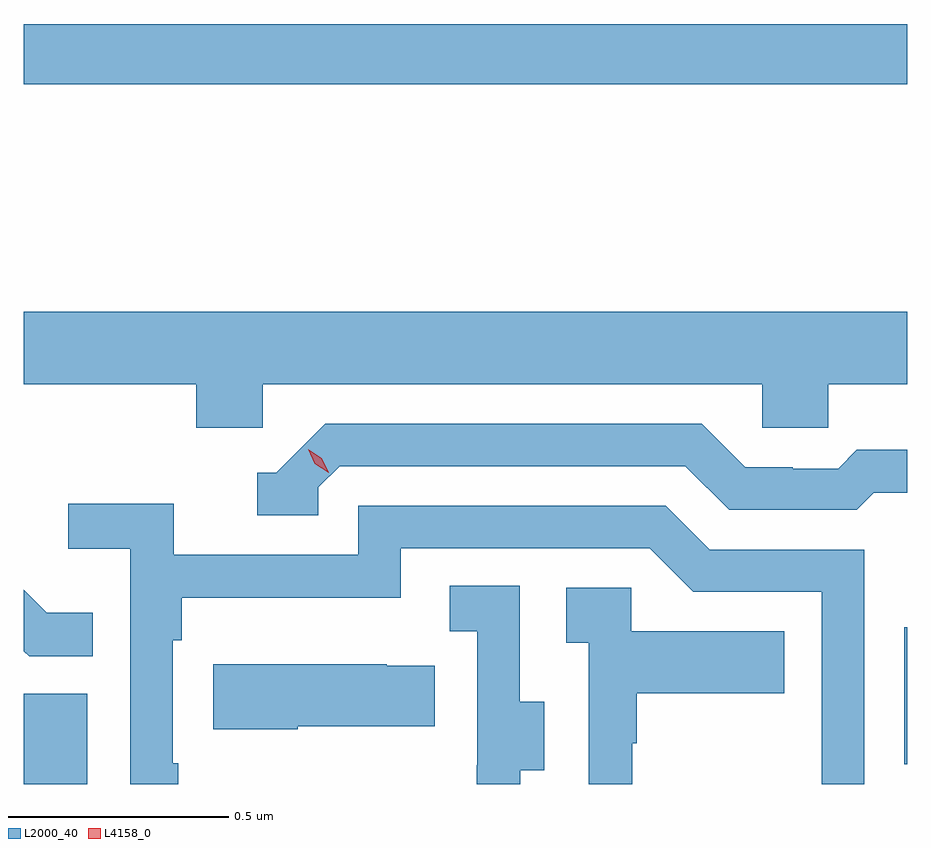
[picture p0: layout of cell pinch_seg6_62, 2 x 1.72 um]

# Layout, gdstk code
import gdstk
lib = gdstk.Library(unit=1e-6, precision=1e-09)
def R(c, l, rs):  # rectangles x0, y0, x1, y1
    for r in rs: c.add(gdstk.rectangle(r[:2], r[2:], *l))
def P(c, l, *ps):  # polygons
    for p in ps: c.add(gdstk.Polygon(p, *l))
L2000_40 = (2000, 40)
L4158_0 = (4158, 0)

pinch_seg6_62 = lib.new_cell('pinch_seg6_62')
R(pinch_seg6_62, L2000_40, [(1009.181,939.771,1009.324,939.975), (1011.174,939.816,1011.181,940.126), (1009.181,941.356,1011.181,941.492)])
P(pinch_seg6_62, L2000_40, [(1009.722,940.676),(1010.853,940.676),(1010.853,940.578),(1011.003,940.578),(1011.003,940.676),(1011.181,940.676),(1011.181,940.84),(1009.181,940.84),(1009.181,940.676),(1009.571,940.676),(1009.571,940.578),(1009.722,940.578)],
  [(1009.848,940.443),(1009.896,940.491),(1010.679,940.491),(1010.778,940.392),(1011.067,940.392),(1011.106,940.431),(1011.181,940.431),(1011.181,940.528),(1011.067,940.528),(1011.025,940.485),(1010.922,940.485),(1010.922,940.488),(1010.815,940.488),(1010.716,940.587),(1009.863,940.587),(1009.752,940.476),(1009.709,940.476),(1009.709,940.38),(1009.848,940.38)],
  [(1009.531,939.818),(1009.518,939.818),(1009.518,940.097),(1009.538,940.097),(1009.538,940.193),(1010.034,940.193),(1010.034,940.305),(1010.598,940.305),(1010.697,940.206),(1010.988,940.206),(1010.988,939.771),(1011.084,939.771),(1011.084,940.302),(1010.734,940.302),(1010.635,940.401),(1009.938,940.401),(1009.938,940.29),(1009.52,940.29),(1009.52,940.406),(1009.281,940.406),(1009.281,940.304),(1009.422,940.304),(1009.422,939.771),(1009.531,939.771)],
  [(1010.305,939.802),(1010.359,939.802),(1010.359,939.957),(1010.304,939.957),(1010.304,940.22),(1010.145,940.22),(1010.145,940.117),(1010.208,940.117),(1010.208,939.813),(1010.207,939.813),(1010.207,939.771),(1010.305,939.771)],
  [(1010.559,939.863),(1010.569,939.863),(1010.569,939.977),(1010.903,939.977),(1010.903,940.117),(1010.556,940.117),(1010.556,940.215),(1010.409,940.215),(1010.409,940.091),(1010.46,940.091),(1010.46,939.771),(1010.559,939.771)],
  [(1009.337,940.159),(1009.233,940.159),(1009.181,940.211),(1009.181,940.072),(1009.193,940.06),(1009.337,940.06)],
  [(1009.801,939.902),(1010.111,939.902),(1010.111,940.039),(1010.003,940.039),(1010.003,940.042),(1009.61,940.042),(1009.61,939.895),(1009.801,939.895)])
P(pinch_seg6_62, L4158_0, [(1009.871,940.476),(1009.84,940.496),(1009.825,940.529),(1009.825,940.529),(1009.825,940.529),(1009.855,940.509),(1009.871,940.476),(1009.871,940.476)])

lib.write_gds('pinch_seg6_62.gds')
